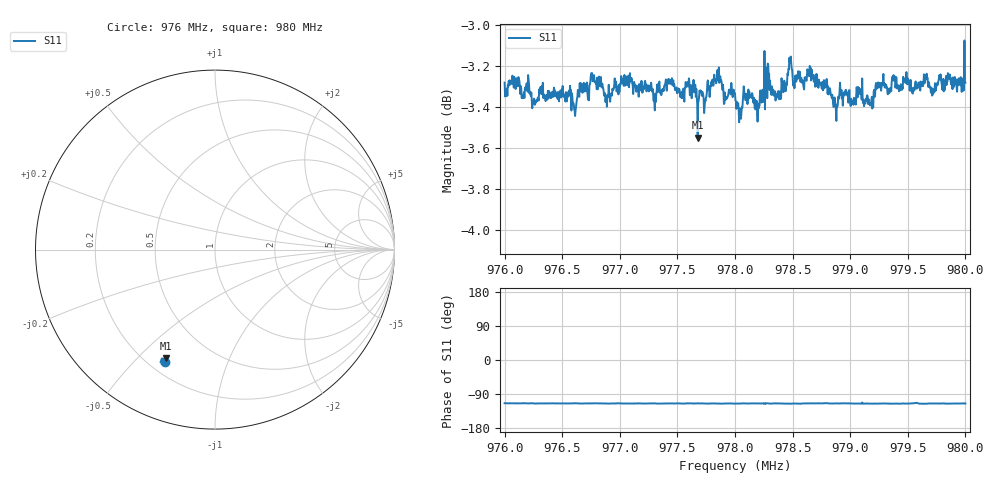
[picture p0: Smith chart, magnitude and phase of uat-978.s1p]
! Calibrated averaged scanner-service zoom
# Hz S RI R 50
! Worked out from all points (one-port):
!   1001 points, 976 MHz to 980 MHz, reference 50 ohm
!   lowest |S11| = -3.5 dB at 977.676 MHz (marker M1), VSWR 4.96, Z = 14.1 - j30.6 ohm
!   |S11| at or under -10 dB: nowhere
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9.76e8  -0.2799 -0.6255
9.76112e8  -0.2847 -0.6244
9.765e8  -0.2824 -0.619
9.76616e8  -0.2765 -0.6155
9.76668e8  -0.2897 -0.6189
9.76768e8  -0.2823 -0.625
9.76896e8  -0.2885 -0.6157
9.77e8  -0.283 -0.6219
9.77208e8  -0.2897 -0.6194
9.77292e8  -0.2777 -0.6189
9.7734e8  -0.2903 -0.6207
9.775e8  -0.2811 -0.6206
9.77676e8  -0.2714 -0.6066
9.7784e8  -0.2899 -0.6215
9.78e8  -0.2897 -0.6165
9.78072e8  -0.2801 -0.6211
9.785e8  -0.2886 -0.6244
9.78784e8  -0.2789 -0.6245
9.78868e8  -0.2812 -0.6169
9.79e8  -0.2828 -0.6161
9.7918e8  -0.2874 -0.613
9.79272e8  -0.2876 -0.6202
9.795e8  -0.2891 -0.623
9.79568e8  -0.2688 -0.6309
9.79624e8  -0.2925 -0.6195
9.79708e8  -0.2849 -0.621
9.79852e8  -0.2932 -0.6217
9.8e8  -0.2865 -0.6225
